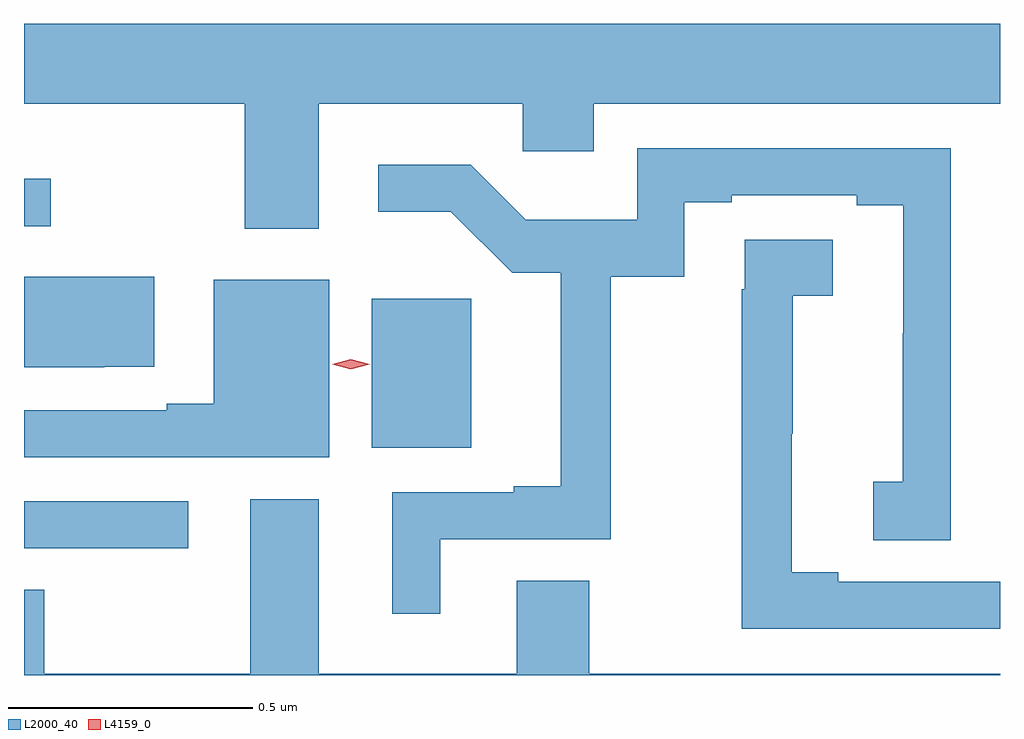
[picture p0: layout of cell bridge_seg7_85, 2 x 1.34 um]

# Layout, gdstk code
import gdstk
lib = gdstk.Library(unit=1e-6, precision=1e-09)
def R(c, l, rs):  # rectangles x0, y0, x1, y1
    for r in rs: c.add(gdstk.rectangle(r[:2], r[2:], *l))
def P(c, l, *ps):  # polygons
    for p in ps: c.add(gdstk.Polygon(p, *l))
L2000_40 = (2000, 40)
L4159_0 = (4159, 0)

bridge_seg7_85 = lib.new_cell('bridge_seg7_85')
R(bridge_seg7_85, L2000_40, [(1072.845,1015.689,1073.182,1015.785), (1073.558,1015.895,1073.761,1016.2), (1072.845,1016.349,1072.9,1016.446)])
P(bridge_seg7_85, L2000_40, [(1073.449,1016.6),(1073.867,1016.6),(1073.867,1016.502),(1074.013,1016.502),(1074.013,1016.6),(1074.845,1016.6),(1074.845,1016.764),(1072.845,1016.764),(1072.845,1016.6),(1073.297,1016.6),(1073.297,1016.343),(1073.449,1016.343)],
  [(1073.698,1015.707),(1074.047,1015.707),(1074.047,1016.245),(1074.198,1016.245),(1074.198,1016.398),(1074.295,1016.398),(1074.295,1016.412),(1074.551,1016.412),(1074.551,1016.392),(1074.647,1016.392),(1074.647,1016.129),(1074.646,1016.129),(1074.646,1015.825),(1074.585,1015.825),(1074.585,1015.705),(1074.744,1015.705),(1074.744,1016.508),(1074.102,1016.508),(1074.102,1016.362),(1073.873,1016.362),(1073.76,1016.475),(1073.571,1016.475),(1073.571,1016.378),(1073.719,1016.378),(1073.845,1016.253),(1073.945,1016.253),(1073.945,1015.816),(1073.849,1015.816),(1073.849,1015.803),(1073.6,1015.803),(1073.6,1015.554),(1073.698,1015.554)],
  [(1074.845,1015.62),(1074.514,1015.62),(1074.514,1015.64),(1074.418,1015.64),(1074.418,1015.923),(1074.42,1015.923),(1074.42,1016.206),(1074.502,1016.206),(1074.502,1016.321),(1074.322,1016.321),(1074.322,1016.219),(1074.316,1016.219),(1074.316,1015.524),(1074.845,1015.524)],
  [(1073.009,1016.061),(1073.112,1016.061),(1073.112,1016.245),(1072.845,1016.245),(1072.845,1016.06),(1073.009,1016.06)],
  [(1073.47,1016.239),(1073.234,1016.239),(1073.234,1015.985),(1073.138,1015.985),(1073.138,1015.971),(1072.845,1015.971),(1072.845,1015.875),(1073.47,1015.875)],
  [(1074.845,1015.432),(1074.003,1015.432),(1074.003,1015.622),(1073.855,1015.622),(1073.855,1015.432),(1073.449,1015.432),(1073.449,1015.789),(1073.309,1015.789),(1073.309,1015.432),(1072.887,1015.432),(1072.887,1015.604),(1072.845,1015.604),(1072.845,1015.428),(1074.845,1015.428)])
P(bridge_seg7_85, L4159_0, [(1073.515,1016.056),(1073.477,1016.066),(1073.477,1016.066),(1073.477,1016.066),(1073.515,1016.076),(1073.553,1016.066),(1073.553,1016.066),(1073.553,1016.066)])

lib.write_gds('bridge_seg7_85.gds')
